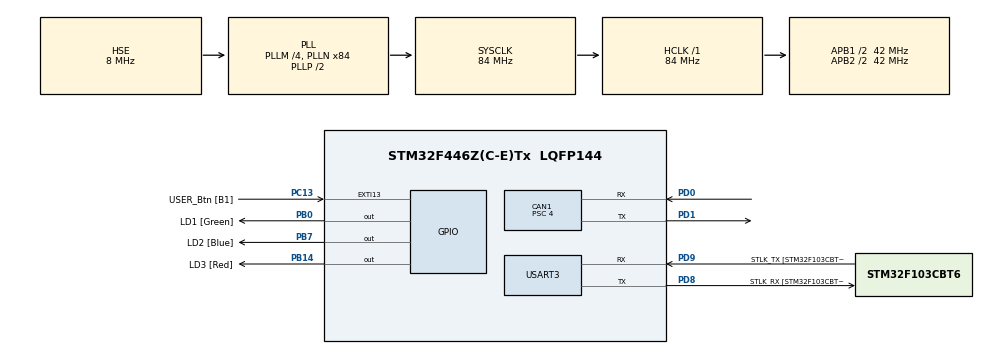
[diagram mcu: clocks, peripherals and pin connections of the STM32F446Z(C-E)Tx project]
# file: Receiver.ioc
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CAN1.BS1=CAN_BS1_13TQ
CAN1.BS2=CAN_BS2_2TQ
CAN1.CalculateBaudRate=656250
CAN1.CalculateTimeBit=1523
CAN1.CalculateTimeQuantum=95.23809523809524
CAN1.NART=ENABLE
CAN1.Prescaler=4
FREERTOS.INCLUDE_pcTaskGetTaskName=1
FREERTOS.Tasks01=app0,48,128,StartApp0,Default,NULL,Dynamic,NULL,NULL;app1,8,128,StartApp1,Default,NULL,Dynamic,NULL,NULL;app2,9,128,StartApp2,Default,NULL,Dynamic,NULL,NULL;app3,8,128,StartApp3,Default,NULL,Dynamic,NULL,NULL
FREERTOS.configUSE_NEWLIB_REENTRANT=1
Mcu.Family=STM32F4
Mcu.Name=STM32F446Z(C-E)Tx
Mcu.Package=LQFP144
NVIC.CAN1_RX0_IRQn=true\:5\:0\:false\:false\:true\:true\:true\:true\:true
NVIC.EXTI15_10_IRQn=true\:5\:0\:false\:false\:true\:true\:true\:true\:true
NVIC.PriorityGroup=NVIC_PRIORITYGROUP_4
NVIC.TIM6_DAC_IRQn=true\:15\:0\:false\:false\:true\:false\:false\:true\:true
NVIC.TimeBase=TIM6_DAC_IRQn
NVIC.TimeBaseIP=TIM6
PB0.GPIO_Label=LD1 [Green]
PB0.Signal=GPIO_Output
PB14.GPIO_Label=LD3 [Red]
PB14.Signal=GPIO_Output
PB7.GPIO_Label=LD2 [Blue]
PB7.Signal=GPIO_Output
PC13.GPIO_Label=USER_Btn [B1]
PC13.Signal=GPXTI13
PC14-OSC32_IN.Mode=LSE-External-Oscillator
PC14-OSC32_IN.Signal=RCC_OSC32_IN
PC15-OSC32_OUT.Mode=LSE-External-Oscillator
PC15-OSC32_OUT.Signal=RCC_OSC32_OUT
PD0.Mode=CAN_Activate
PD0.Signal=CAN1_RX
PD1.Mode=CAN_Activate
PD1.Signal=CAN1_TX
PD8.GPIO_Label=STLK_RX [STM32F103CBT6_PA3]
PD8.Mode=Asynchronous
PD8.Signal=USART3_TX
PD9.GPIO_Label=STLK_TX [STM32F103CBT6_PA2]
PD9.Mode=Asynchronous
PD9.Signal=USART3_RX
PH0-OSC_IN.GPIO_Label=MCO [STM32F103CBT6_PA8]
PH0-OSC_IN.Mode=HSE-External-Clock-Source
PH0-OSC_IN.Signal=RCC_OSC_IN
PH1-OSC_OUT.Mode=HSE-External-Clock-Source
PH1-OSC_OUT.Signal=RCC_OSC_OUT
ProjectManager.HeapSize=0x200
ProjectManager.StackSize=0x400
ProjectManager.TargetToolchain=STM32CubeIDE
RCC.48MHZClocksFreq_Value=24000000
RCC.AHBFreq_Value=84000000
RCC.APB1CLKDivider=RCC_HCLK_DIV2
RCC.APB1Freq_Value=42000000
RCC.APB1TimFreq_Value=84000000
RCC.APB2CLKDivider=RCC_HCLK_DIV2
RCC.APB2Freq_Value=42000000
RCC.APB2TimFreq_Value=84000000
RCC.CortexFreq_Value=84000000
RCC.HCLKFreq_Value=84000000
RCC.HSE_VALUE=8000000
RCC.HSI_VALUE=16000000
RCC.PLLM=4
RCC.PLLMUL=RCC_PLL_MUL9
RCC.PLLN=84
RCC.PLLQ=7
RCC.PLLSourceVirtual=RCC_PLLSOURCE_HSE
RCC.PRESCALERUSB=RCC_USBCLKSOURCE_PLL_DIV1_5
RCC.SYSCLKFreq_VALUE=84000000
RCC.SYSCLKSource=RCC_SYSCLKSOURCE_PLLCLK
RCC.SYSCLKSourceVirtual=RCC_SYSCLKSOURCE_PLLCLK
RCC.USBFreq_Value=24000000
RCC.VCOOutputFreq_Value=168000000
USART3.VirtualMode=VM_ASYNC
VP_FREERTOS_VS_CMSIS_V2.Mode=CMSIS_V2
VP_SYS_VS_tim6.Mode=TIM6
board=NUCLEO-F446ZE

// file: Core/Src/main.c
/* USER CODE BEGIN Header */
/**
  ******************************************************************************
  * @file           : main.c
  * @brief          : Main program body
  ******************************************************************************
  * @attention
  *
  * Copyright (c) 2024 STMicroelectronics.
  * All rights reserved.
  *
  * This software is licensed under terms that can be found in the LICENSE file
  * in the root directory of this software component.
  * If no LICENSE file comes with this software, it is provided AS-IS.
  *
  ******************************************************************************
  */
/* USER CODE END Header */
#include "main.h"
#include "cmsis_os.h"

/* USER CODE BEGIN Includes */
#include <stdio.h>
#include "F446ZE_FLASH_Sector_Addresses.h"
#include <stdbool.h>
/* USER CODE END Includes */

/* USER CODE BEGIN PD */

#define MAJOR 0
#define MINOR 0
/* Before transmitting, we will program the update in Sector 7 ( = its last sector) of one of the F446 boards.
 * Programming a .bin file in the Flash memory is done through the STM32CubeProgrammer application.
 * This update will then be send to the second F446 board through the CAN bus. Here, we use wires to simulate this process.
 * For a real space application, a wireless CAN transceiver has to be used.
 * The receiving board will also store the update in sector 7. The sector choice is just an arbitrary decision.
 * Any other sector can be chosen too, as long as it doesn't conflict with firmware code. */

#define FLASH_USER_START_ADDR_TX   ADDR_FLASH_SECTOR_5_START		/* Start @ of user Flash area */
#define FLASH_USER_START_ADDR_RX   ADDR_FLASH_SECTOR_5_START
#define FLASH_USER_END_ADDR_TX     ADDR_FLASH_SECTOR_5_END 			/* End @ of user Flash area */
#define FLASH_USER_END_ADDR_RX	   ADDR_FLASH_SECTOR_5_END

#define APPLICATION_START_ADDR      0x8000000

#define DATA_32                    ((uint32_t)0x12345678)
/* USER CODE END PD */

/* USER CODE BEGIN PM */

//Queue for CAN Bus
QueueHandle_t canRxQueue;

/* USER CODE END PM */

CAN_HandleTypeDef hcan1;

UART_HandleTypeDef huart3;

/* Definitions for app0 */
osThreadId_t app0Handle;
const osThreadAttr_t app0_attributes = {
  .name = "app0",
  .stack_size = 128 * 4,
  .priority = (osPriority_t) osPriorityRealtime,
};
/* Definitions for app1 */
osThreadId_t app1Handle;
const osThreadAttr_t app1_attributes = {
  .name = "app1",
  .stack_size = 128 * 4,
  .priority = (osPriority_t) osPriorityLow,
};
/* Definitions for app2 */
osThreadId_t app2Handle;
const osThreadAttr_t app2_attributes = {
  .name = "app2",
  .stack_size = 128 * 4,
  .priority = (osPriority_t) osPriorityLow1,
};
/* Definitions for app3 */
osThreadId_t app3Handle;
const osThreadAttr_t app3_attributes = {
  .name = "app3",
  .stack_size = 128 * 4,
  .priority = (osPriority_t) osPriorityLow,
};
/* USER CODE BEGIN PV */

const uint8_t			APP_Version[2]={MAJOR, MINOR};
// Define whether the board will be sending or receiving.
uint8_t			      	TX;

// CAN variables
CAN_TxHeaderTypeDef   	TxHeader;
CAN_RxHeaderTypeDef   	RxHeader;
uint8_t               	TxData[8];
uint8_t               	RxData[8];
uint32_t              	TxMailbox;
enum board_status 	  	{NO_UPDATE_AVAILABLE, SENDING_UPDATE, RECEIVING_UPDATE, UPDATE_FINISHED};
enum board_status 	  	board_status = NO_UPDATE_AVAILABLE;
enum ACK_status		  	{ACK, NACK};
enum ACK_status			ack_status = NACK;

// Flash Operation variables
uint32_t FirstSector = 0, NbOfSectors = 0;
uint32_t Address = FLASH_USER_START_ADDR_RX, SECTORError = 0;
__IO uint32_t data32 = 0 , MemoryProgramStatus = 0;
uint8_t TxBuffer;

/*Variable used for Flash Erase procedure*/
static FLASH_EraseInitTypeDef EraseInitStruct;

bool flashUpdateDone = false;
bool flashErased = false;  // Add this line to declare the flashErased variable
bool updateComplete = false;
bool taskCreated = false;
bool flag1;

/* USER CODE END PV */

void SystemClock_Config(void);
static void MX_GPIO_Init(void);
static void MX_USART3_UART_Init(void);
static void MX_CAN1_Init(void);
void StartApp0(void *argument);
void StartApp1(void *argument);
void StartApp2(void *argument);
void StartApp3(void *argument);

void StartApp1_1(void *argument);

/* USER CODE BEGIN PFP */
void CANRxTask(void *argument);
void SystemReset(void);
void StopAllThreads(void);
void RebootToApplication(void);

/* Function prototypes for Flash Operations */
uint32_t GetSector(uint32_t Address);
uint32_t GetSectorSize(uint32_t Sector);
void Read_FLASH_and_Prepare_Data_for_CAN(uint32_t Sector, uint32_t StartSectorAddress);
uint32_t Read_Message_and_Write_in_FLASH(uint32_t StartSectorAddress, uint32_t EndSectorAddress, uint8_t *data, uint8_t length);
//static void sendACK(void);
//static enum ACK_status receiveACK(void);
/* USER CODE END PFP */

int main(void)
{
  /* USER CODE BEGIN 1 */

	/* Transmitting board: 	TX = 1
	 * Receiving board: 	TX = 0 */
	// MODIFY TX value
	TX = 0;

  /* USER CODE END 1 */

  /* MCU Configuration--------------------------------------------------------*/

  /* Reset of all peripherals, Initializes the Flash interface and the Systick. */
  HAL_Init();

  /* Configure the system clock */
  SystemClock_Config();

  /* Initialize all configured peripherals */
  MX_GPIO_Init();
  MX_USART3_UART_Init();
  MX_CAN1_Init();
  /* USER CODE BEGIN 2 */

  /* Start the CAN and enable interrupts*/
 HAL_CAN_Start(&hcan1);

  /* USER CODE END 2 */

  /* Init scheduler */
  osKernelInitialize();

  /* USER CODE BEGIN RTOS_QUEUES */
  /* add queues, ... */

  /* Create a queue capable of holding 10 CAN messages */
  canRxQueue = xQueueCreate(10, sizeof(CAN_RxHeaderTypeDef) + sizeof(uint8_t[8]));
  if (canRxQueue == NULL)
  {
      // Handle error: Queue not created
      Error_Handler();
  }

  /* USER CODE END RTOS_QUEUES */

  /* Create the thread(s) */
  /* creation of app0 */
  app0Handle = osThreadNew(StartApp0, NULL, &app0_attributes);

  /* creation of app1 */
  app1Handle = osThreadNew(StartApp1, NULL, &app1_attributes);

  /* creation of app2 */
  app2Handle = osThreadNew(StartApp2, NULL, &app2_attributes);

  /* creation of app3 */
  app3Handle = osThreadNew(StartApp3, NULL, &app3_attributes);

  /* USER CODE BEGIN RTOS_THREADS */
  /* add threads, ... */

  //thread for handling CAN messages

  if (xTaskCreate(CANRxTask, "CANRxTask", 256, NULL, osPriorityNormal, NULL) != pdPASS)
  {
      // Handle error: Task not created
      Error_Handler();
  }

  /* USER CODE END RTOS_THREADS */

  /* Start scheduler */
  osKernelStart();

  /* We should never get here as control is now taken by the scheduler */
  /* Infinite loop */
  while (1)
  {

    /* USER CODE BEGIN 3 */

	  printf("in the while \r\n");

  }
  /* USER CODE END 3 */
}

void SystemClock_Config(void)
{
  RCC_OscInitTypeDef RCC_OscInitStruct = {0};
  RCC_ClkInitTypeDef RCC_ClkInitStruct = {0};

  /** Configure the main internal regulator output voltage
  */
  __HAL_RCC_PWR_CLK_ENABLE();
  __HAL_PWR_VOLTAGESCALING_CONFIG(PWR_REGULATOR_VOLTAGE_SCALE3);

  /** Initializes the RCC Oscillators according to the specified parameters
  * in the RCC_OscInitTypeDef structure.
  */
  RCC_OscInitStruct.OscillatorType = RCC_OSCILLATORTYPE_HSE;
  RCC_OscInitStruct.HSEState = RCC_HSE_BYPASS;
  RCC_OscInitStruct.PLL.PLLState = RCC_PLL_ON;
  RCC_OscInitStruct.PLL.PLLSource = RCC_PLLSOURCE_HSE;
  RCC_OscInitStruct.PLL.PLLM = 4;
  RCC_OscInitStruct.PLL.PLLN = 84;
  RCC_OscInitStruct.PLL.PLLP = RCC_PLLP_DIV2;
  RCC_OscInitStruct.PLL.PLLQ = 7;
  RCC_OscInitStruct.PLL.PLLR = 2;
  if (HAL_RCC_OscConfig(&RCC_OscInitStruct) != HAL_OK)
  {
    Error_Handler();
  }

  /** Initializes the CPU, AHB and APB buses clocks
  */
  RCC_ClkInitStruct.ClockType = RCC_CLOCKTYPE_HCLK|RCC_CLOCKTYPE_SYSCLK
                              |RCC_CLOCKTYPE_PCLK1|RCC_CLOCKTYPE_PCLK2;
  RCC_ClkInitStruct.SYSCLKSource = RCC_SYSCLKSOURCE_PLLCLK;
  RCC_ClkInitStruct.AHBCLKDivider = RCC_SYSCLK_DIV1;
  RCC_ClkInitStruct.APB1CLKDivider = RCC_HCLK_DIV2;
  RCC_ClkInitStruct.APB2CLKDivider = RCC_HCLK_DIV2;

  if (HAL_RCC_ClockConfig(&RCC_ClkInitStruct, FLASH_LATENCY_2) != HAL_OK)
  {
    Error_Handler();
  }
}

static void MX_CAN1_Init(void)
{

  /* USER CODE BEGIN CAN1_Init 0 */
  CAN_FilterTypeDef  sFilterConfig0;
  /* USER CODE END CAN1_Init 0 */

  hcan1.Instance = CAN1;
  hcan1.Init.Prescaler = 4;
  hcan1.Init.Mode = CAN_MODE_NORMAL;
  hcan1.Init.SyncJumpWidth = CAN_SJW_1TQ;
  hcan1.Init.TimeSeg1 = CAN_BS1_13TQ;
  hcan1.Init.TimeSeg2 = CAN_BS2_2TQ;
  hcan1.Init.TimeTriggeredMode = DISABLE;
  hcan1.Init.AutoBusOff = DISABLE;
  hcan1.Init.AutoWakeUp = DISABLE;
  hcan1.Init.AutoRetransmission = ENABLE;
  hcan1.Init.ReceiveFifoLocked = DISABLE;
  hcan1.Init.TransmitFifoPriority = DISABLE;
  if (HAL_CAN_Init(&hcan1) != HAL_OK)
  {
    Error_Handler();
  }
  /* USER CODE BEGIN CAN1_Init 2 */

  sFilterConfig0.FilterBank = 0;
  sFilterConfig0.FilterMode = CAN_FILTERMODE_IDMASK;
  sFilterConfig0.FilterScale = CAN_FILTERSCALE_32BIT;
  sFilterConfig0.FilterIdHigh = 0x0000;
  sFilterConfig0.FilterIdLow = 0x0000;
  sFilterConfig0.FilterMaskIdHigh = 0x0000;
  sFilterConfig0.FilterMaskIdLow = 0x0000;
  sFilterConfig0.FilterFIFOAssignment = CAN_RX_FIFO0;
  sFilterConfig0.FilterActivation = ENABLE;
  sFilterConfig0.SlaveStartFilterBank = 14;
  if (HAL_CAN_ConfigFilter(&hcan1, &sFilterConfig0) != HAL_OK) {
	/* Filter configuration Error */
	Error_Handler();
  }

  if (HAL_CAN_Start(&hcan1) != HAL_OK)
  {
    /* Start Error */
    Error_Handler();
  }

  if (HAL_CAN_ActivateNotification(&hcan1, CAN_IT_RX_FIFO0_MSG_PENDING) != HAL_OK)
    {
    /* Notification Error */
      Error_Handler();
    }

  TxHeader.StdId = 0b00000000000;
  TxHeader.ExtId = 0x00;
  TxHeader.RTR = CAN_RTR_DATA;
  TxHeader.IDE = CAN_ID_STD;
  TxHeader.DLC = 8; // Data length is equal to 8
  TxHeader.TransmitGlobalTime = DISABLE;

  TxHeader.StdId = 0b00000000000;
  TxHeader.ExtId = 0x00;
  TxHeader.RTR = CAN_RTR_DATA;
  TxHeader.IDE = CAN_ID_STD;
  TxHeader.DLC = 1; // Data length is equal to 1
  TxHeader.TransmitGlobalTime = DISABLE;

  /* USER CODE END CAN1_Init 2 */

}

static void MX_USART3_UART_Init(void)
{

  huart3.Instance = USART3;
  huart3.Init.BaudRate = 115200;
  huart3.Init.WordLength = UART_WORDLENGTH_8B;
  huart3.Init.StopBits = UART_STOPBITS_1;
  huart3.Init.Parity = UART_PARITY_NONE;
  huart3.Init.Mode = UART_MODE_TX_RX;
  huart3.Init.HwFlowCtl = UART_HWCONTROL_NONE;
  huart3.Init.OverSampling = UART_OVERSAMPLING_16;
  if (HAL_UART_Init(&huart3) != HAL_OK)
  {
    Error_Handler();
  }

}

static void MX_GPIO_Init(void)
{
  GPIO_InitTypeDef GPIO_InitStruct = {0};

  /* GPIO Ports Clock Enable */
  __HAL_RCC_GPIOC_CLK_ENABLE();
  __HAL_RCC_GPIOH_CLK_ENABLE();
  __HAL_RCC_GPIOB_CLK_ENABLE();
  __HAL_RCC_GPIOD_CLK_ENABLE();

  /*Configure GPIO pin Output Level */
  HAL_GPIO_WritePin(GPIOB, LD1_Pin|LD3_Pin|LD2_Pin, GPIO_PIN_RESET);

  /*Configure GPIO pin : USER_Btn_Pin */
  GPIO_InitStruct.Pin = USER_Btn_Pin;
  GPIO_InitStruct.Mode = GPIO_MODE_IT_RISING;
  GPIO_InitStruct.Pull = GPIO_NOPULL;
  HAL_GPIO_Init(USER_Btn_GPIO_Port, &GPIO_InitStruct);

  /*Configure GPIO pins : LD1_Pin LD3_Pin LD2_Pin */
  GPIO_InitStruct.Pin = LD1_Pin|LD3_Pin|LD2_Pin;
  GPIO_InitStruct.Mode = GPIO_MODE_OUTPUT_PP;
  GPIO_InitStruct.Pull = GPIO_NOPULL;
  GPIO_InitStruct.Speed = GPIO_SPEED_FREQ_LOW;
  HAL_GPIO_Init(GPIOB, &GPIO_InitStruct);

  /* EXTI interrupt init*/
  HAL_NVIC_SetPriority(EXTI15_10_IRQn, 5, 0);
  HAL_NVIC_EnableIRQ(EXTI15_10_IRQn);

}

/* USER CODE BEGIN 4 */

/* We will read the full sector. We read a byte each time and pass it to the TxData[i] of the CAN.
 * The maximum amount of data the CAN protocol can send per message is 8 bytes,
 * so we will repeat the read operation 8 times. */
void Read_FLASH_and_Prepare_Data_for_CAN(uint32_t Sector, uint32_t StartSectorAddress){
    printf("Starting Read_FLASH_and_Prepare_Data_for_CAN\r\n");
    board_status = SENDING_UPDATE;
    HAL_GPIO_WritePin(GPIOB, LD3_Pin | LD1_Pin, GPIO_PIN_RESET);

    //osMutexAcquire(mutex_memHandle, osWaitForever);
    /* Unlock the Flash to enable the flash control register access. */
    HAL_FLASH_Unlock();

    /* Since sectors can have different length, we need to calculate how many bytes need to be read. */
    uint32_t nrOfBytes = GetSectorSize(Sector)/8;

    while (nrOfBytes != 0){
        HAL_GPIO_TogglePin(GPIOB, LD2_Pin);
        for (int i = 0; i < 8; i++){
            /* Read the first byte from Flash and store it in TxBuffer. */
            TxBuffer = *(__IO uint8_t *)StartSectorAddress;

            /* Put the content of TxBuffer in TxData[i]. */
            TxData[i] = TxBuffer;

            /* Move to the next byte in Flash memory. */
            StartSectorAddress += sizeof(uint8_t);

            /* Decrement the number of bytes that still have to be read. */
            nrOfBytes--;
            printf("nrOfBytes: %lu \r\n", nrOfBytes);
            printf("TxData[%d]: %02X \r\n", i, TxData[i]);
        }

        /* Now that we have 8 bytes of data, we send a message through the CAN bus! */
        if (HAL_CAN_AddTxMessage(&hcan1 , &TxHeader, TxData, &TxMailbox) != HAL_OK) {
           // printf("Error sending CAN message\r\n");
        } else {
            printf("CAN message sent successfully\r\n");
        }
    }

    /* When all data is read and sent, we lock the Flash memory again to protect it from unwanted operations. */
    HAL_FLASH_Lock();
    board_status = UPDATE_FINISHED;
    //osMutexRelease(mutex_memHandle);
    printf("Finished Read_FLASH_and_Prepare_Data_for_CAN\r\n");
}

/**
  * @brief  Gets the sector of a given address
  * @param  None
  * @retval The sector of a given address
  */
uint32_t GetSector(uint32_t Address)
{
  uint32_t sector = 0;

  if((Address < ADDR_FLASH_SECTOR_1_START) && (Address >= ADDR_FLASH_SECTOR_0_START))
  {
    sector = FLASH_SECTOR_0;
  }
  else if((Address < ADDR_FLASH_SECTOR_2_START) && (Address >= ADDR_FLASH_SECTOR_1_START))
  {
    sector = FLASH_SECTOR_1;
  }
  else if((Address < ADDR_FLASH_SECTOR_3_START) && (Address >= ADDR_FLASH_SECTOR_2_START))
  {
    sector = FLASH_SECTOR_2;
  }
  else if((Address < ADDR_FLASH_SECTOR_4_START) && (Address >= ADDR_FLASH_SECTOR_3_START))
  {
    sector = FLASH_SECTOR_3;
  }
  else if((Address < ADDR_FLASH_SECTOR_5_START) && (Address >= ADDR_FLASH_SECTOR_4_START))
  {
    sector = FLASH_SECTOR_4;
  }
  else if((Address < ADDR_FLASH_SECTOR_6_START) && (Address >= ADDR_FLASH_SECTOR_5_START))
  {
    sector = FLASH_SECTOR_5;
  }
  else if((Address < ADDR_FLASH_SECTOR_7_START) && (Address >= ADDR_FLASH_SECTOR_6_START))
  {
    sector = FLASH_SECTOR_6;
  }
  else /* (Address < FLASH_END_ADDR) && (Address >= ADDR_FLASH_SECTOR_7) */
  {
    sector = FLASH_SECTOR_7;
  }
  return sector;
}

/**
  * @brief  Gets sector Size
  * @param  None
  * @retval The size of a given sector
  */
uint32_t GetSectorSize(uint32_t Sector)
{
  uint32_t sectorsize = 0x00;
  if((Sector == FLASH_SECTOR_0) || (Sector == FLASH_SECTOR_1) || (Sector == FLASH_SECTOR_2) || (Sector == FLASH_SECTOR_3))
  {
    sectorsize = 16 * 1024;
  }
  else if(Sector == FLASH_SECTOR_4)
  {
    sectorsize = 64 * 1024;
  }
  else
  {
    sectorsize = 128 * 1024;
  }
  return sectorsize;
}

void HAL_GPIO_EXTI_Callback(uint16_t GPIO_Pin){
	if (GPIO_Pin == GPIO_PIN_13){

		// Start reading the Flash sector where we stored the .bin file of the update.
		Read_FLASH_and_Prepare_Data_for_CAN(FLASH_SECTOR_3, FLASH_USER_START_ADDR_TX);
	}
}

//void HAL_CAN_RxFifo0MsgPendingCallback(CAN_HandleTypeDef *hcan)
//{
//  /* Get RX message */
//  if (HAL_CAN_GetRxMessage(hcan, CAN_RX_FIFO0, &RxHeader, RxData) != HAL_OK)
//  {
//    /* Reception Error */
//    Error_Handler();
//  }
//
//  /* Display LEDx */
//  if ((RxHeader.StdId == 0b00000000000) && (RxHeader.IDE == CAN_ID_STD) && (RxHeader.DLC == 8))
//  {
//    printf("message received \r\n");
//  }
//}

void HAL_CAN_RxFifo0MsgPendingCallback(CAN_HandleTypeDef *hcan)
{
    BaseType_t xHigherPriorityTaskWoken = pdFALSE;
    uint8_t buffer[sizeof(CAN_RxHeaderTypeDef) + sizeof(uint8_t[8])];
    CAN_RxHeaderTypeDef *pRxHeader = (CAN_RxHeaderTypeDef *)buffer;
    uint8_t *pRxData = buffer + sizeof(CAN_RxHeaderTypeDef);

    // Get the message
    if (HAL_CAN_GetRxMessage(hcan, CAN_RX_FIFO0, pRxHeader, pRxData) == HAL_OK)
    {
        // Send the message to the queue
        xQueueSendFromISR(canRxQueue, buffer, &xHigherPriorityTaskWoken);
    }

    // Perform a context switch if required
    portYIELD_FROM_ISR(xHigherPriorityTaskWoken);
}

/* Enabling a print function for Putty. */
#ifdef __GNUC__

 /* With GCC, small printf (option LD Linker->Libraries->Small printf set to 'Yes') calls __io_putchar() */
int __io_putchar(int ch)
#else
int fputc(int ch, FILE *f)
#endif /* __GNUC__ */
{
	HAL_UART_Transmit(&huart3, (uint8_t *)&ch, 1, HAL_MAX_DELAY);
	return ch;
}

uint32_t Read_Message_and_Write_in_FLASH(uint32_t Address, uint32_t EndSectorAddress, uint8_t *data, uint8_t length)
{
    printf("Entering Read_Message_and_Write_in_FLASH\r\n");
    HAL_FLASH_Unlock();
    printf("Flash unlocked\r\n");
    board_status = RECEIVING_UPDATE;

    for (uint8_t i = 0; i < length; i++)
    {
        if (Address >= EndSectorAddress)
        {
            // Handle error: Flash address out of range
            printf("Flash address out of range\r\n");
            break;
        }

        HAL_StatusTypeDef flash_status = HAL_FLASH_Program(FLASH_TYPEPROGRAM_BYTE, Address, data[i]);
        if (flash_status == HAL_OK)
        {
            printf("Flash write successful: %02X at address %lu\r\n", data[i], Address);
            Address++;
        }
        else
        {
            printf("Flash write failed: status=%d\r\n", flash_status);
            HAL_FLASH_Lock();
            Error_Handler();
        }
    }

    HAL_FLASH_Lock();
    printf("Flash locked\r\n");

    printf("Exiting Read_Message_and_Write_in_FLASH\r\n");
    return Address;
}

//Task that handles RX

// Updated CANRxTask
void CANRxTask(void *argument)
{
    uint8_t buffer[sizeof(CAN_RxHeaderTypeDef) + sizeof(uint8_t[8])];
    CAN_RxHeaderTypeDef *pRxHeader = (CAN_RxHeaderTypeDef *)buffer;
    uint8_t *pRxData = buffer + sizeof(CAN_RxHeaderTypeDef);

    // Declare the app1_1_attributes at the beginning of the function
    osThreadAttr_t app1_1_attributes = {
        .name = "app1.1",
        .stack_size = 128 * 4,
        .priority = (osPriority_t) osPriorityLow,
    };

    while (1)
    {
        // Wait for data to be available in the queue
        if (xQueueReceive(canRxQueue, buffer, portMAX_DELAY) == pdPASS)
        {
            // Process the received message
            printf("Received CAN message with ID: 0x%03lX\r\n", (unsigned long)pRxHeader->StdId);
            for (int i = 0; i < pRxHeader->DLC; i++)
            {
                printf("%02X ", pRxData[i]);
            }
            printf("\r\n");

            // Erase the sector only once before writing the data
            if (!flashErased)
            {
                //First we delete thread of app1
                printf("Deleting App1 thread");

                // Delete this task (app1) after the flag is set, indicating an update
                vTaskDelete(app1Handle);
                // Set the handle to NULL to indicate the task is deleted
                app1Handle = NULL;

                /* Get the 1st sector to erase */
                FirstSector = GetSector(Address);
                /* Get the number of sectors to erase */
                NbOfSectors = 1; // Assuming only one sector needs to be erased
                /* Fill EraseInit structure */
                EraseInitStruct.TypeErase     = FLASH_TYPEERASE_SECTORS;
                EraseInitStruct.VoltageRange  = FLASH_VOLTAGE_RANGE_3;
                EraseInitStruct.Sector        = FirstSector;
                EraseInitStruct.NbSectors     = NbOfSectors;

                if (HAL_FLASHEx_Erase(&EraseInitStruct, &SECTORError) != HAL_OK)
                {
                    printf("Error erasing flash sector\r\n");
                    HAL_FLASH_Lock();
                }
                else
                {
                    printf("Flash sector erased successfully\r\n");
                    flashErased = true;
                }
            }

            // Call the function to write to FLASH and update the address
            Address = Read_Message_and_Write_in_FLASH(Address, FLASH_USER_END_ADDR_RX, pRxData, pRxHeader->DLC);

            // Set the update complete flag when the last chunk is received and written
            if (Address >= 0x8020056)
            {
                updateComplete = true;

            }
        }

        // Check if update is complete and reset the system
        if (updateComplete)
        {
        	printf("Update completed \r\n");
            //osDelay(3000);    //Safety delay for launching it

//            printf("Cerating a new task \r\n");
//
//
//
//            osThreadNew(StartApp1_1, NULL, &app1_1_attributes);

            SystemReset();
        }

    }
}

// Function to trigger a system reset
void SystemReset(void)
{
    printf("System resetting...\r\n");
    HAL_NVIC_SystemReset();
}

void StopAllThreads(void)
{
    vTaskSuspend(app1Handle);
    vTaskSuspend(app2Handle);
    vTaskSuspend(app3Handle);
    // Add suspensions for any other threads if necessary
}

void StartApp1_1(void *argument)
{
  for(;;)
  {
      //printf("Hello from app 1.1\r\n");

	  printf("About to try to relaunch with a new task \r\n");
      //application1();
      osDelay(1000);
  }
}

/* USER CODE END 4 */

void StartApp0(void *argument)
{
  /* USER CODE BEGIN 5 */
  /* Infinite loop */
  for(;;)
  {
	  if (TX){
		  if (board_status == NO_UPDATE_AVAILABLE){
			  HAL_GPIO_WritePin(GPIOB, LD2_Pin | LD1_Pin, GPIO_PIN_RESET);
			  HAL_GPIO_TogglePin(GPIOB, LD3_Pin);
			  osDelay(1000);
		  }
		  else if (board_status == SENDING_UPDATE){
			  HAL_GPIO_WritePin(GPIOB, LD3_Pin | LD1_Pin, GPIO_PIN_RESET);
			  HAL_GPIO_TogglePin(GPIOB, LD2_Pin);
			  osDelay(100);
		  }
		  else if (board_status == UPDATE_FINISHED){
			  HAL_GPIO_WritePin(GPIOB, LD2_Pin | LD3_Pin, GPIO_PIN_RESET);
			  HAL_GPIO_TogglePin(GPIOB, LD1_Pin);
			  printf("update finished");
			  osDelay(1000);
		  }
	  }

	  else {
		  osDelay(100);
		  if (board_status == NO_UPDATE_AVAILABLE){
			  HAL_GPIO_WritePin(GPIOB, LD2_Pin | LD1_Pin, GPIO_PIN_RESET);
			  HAL_GPIO_TogglePin(GPIOB, LD3_Pin);
			  osDelay(1000);
		  }
		  else if (board_status == RECEIVING_UPDATE){
			  HAL_GPIO_WritePin(GPIOB, LD3_Pin | LD1_Pin, GPIO_PIN_RESET);
			  HAL_GPIO_TogglePin(GPIOB, LD2_Pin);
			  osDelay(100);
		  }
		  else if (board_status == UPDATE_FINISHED){
			  HAL_GPIO_WritePin(GPIOB, LD2_Pin | LD3_Pin, GPIO_PIN_RESET);
			  HAL_GPIO_TogglePin(GPIOB, LD1_Pin);
			  osDelay(1000);
		  }
	  }
	  osDelay(1);
  }
  /* USER CODE END 5 */
}

void StartApp1(void *argument)
{
  for(;;)
  {

	  application1();
	  osDelay(1000);

  }
  /* USER CODE END StartApp1 */
}

void StartApp2(void *argument)
{
  /* USER CODE BEGIN StartApp2 */
  /* Infinite loop */
  for(;;)
  {
	  application2();
	  osDelay(1000);
  }
  /* USER CODE END StartApp2 */
}

void StartApp3(void *argument)
{
  /* USER CODE BEGIN StartApp3 */
  /* Infinite loop */
  for(;;)
  {
	  application3();
	  osDelay(1000);
  }
  /* USER CODE END StartApp3 */
}

void HAL_TIM_PeriodElapsedCallback(TIM_HandleTypeDef *htim)
{
  if (htim->Instance == TIM6) {
    HAL_IncTick();
  }
}

void Error_Handler(void)
{
  __disable_irq();
  while (1)
  {
  }
}
